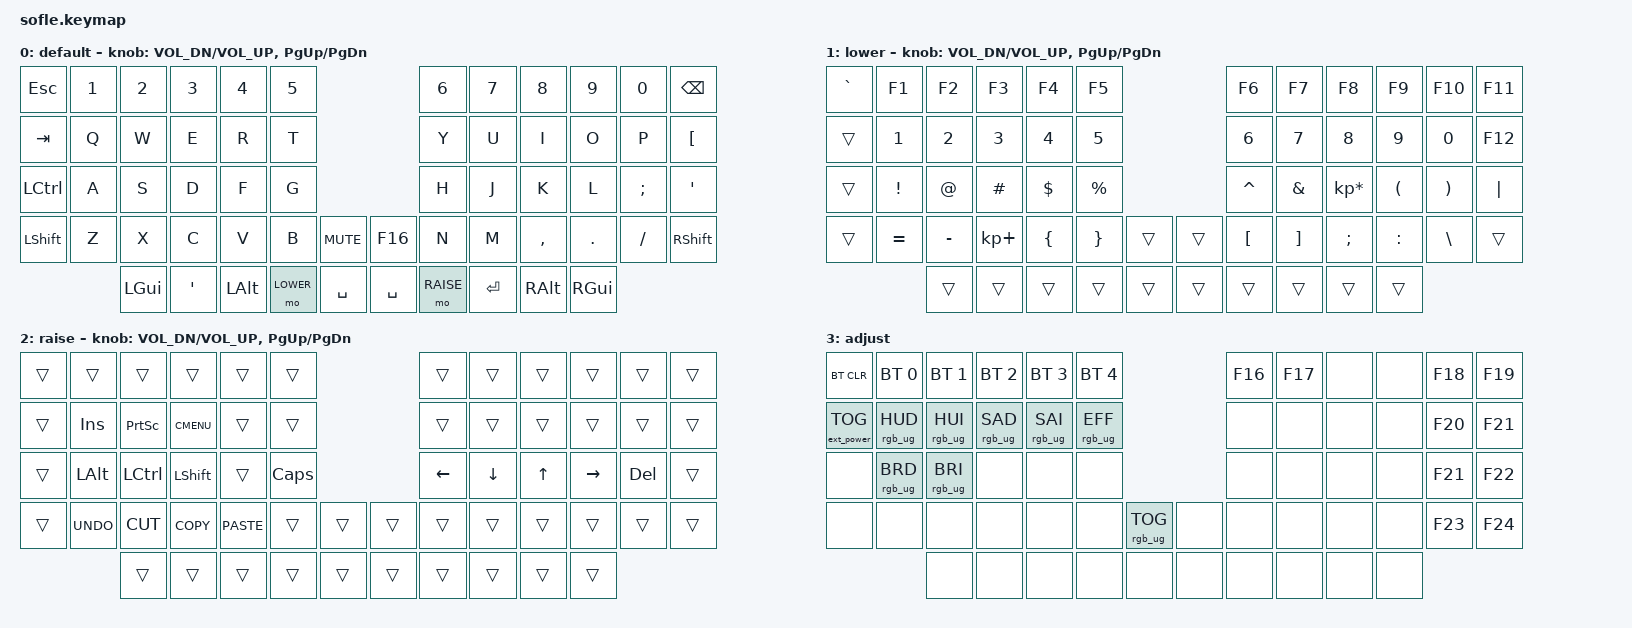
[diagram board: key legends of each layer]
/*
 * Copyright (c) 2020 The ZMK Contributors
 *
 * SPDX-License-Identifier: MIT
 */

#include <behaviors.dtsi>
#include <dt-bindings/zmk/keys.h>
#include <dt-bindings/zmk/bt.h>
#include <dt-bindings/zmk/rgb.h>
#include <dt-bindings/zmk/ext_power.h>

#define BASE 0
#define LOWER 1
#define RAISE 2
#define ADJUST 3

/ {

   // Activate ADJUST layer by pressing raise and lower
    conditional_layers {
        compatible = "zmk,conditional-layers";
        adjust_layer {
            if-layers = <LOWER RAISE>;
            then-layer = <ADJUST>;
        };
    };


    keymap {
        compatible = "zmk,keymap";

        default_layer {
            display-name = "default";
// ----------------------------------------------------------------------------------------------------------------
// |  ESC    |  1  |  2  |  3   |  4   |   5   |                     |  6   |  7    |  8    |  9   |   0   | BKSPC |
// |  TAB    |  Q  |  W  |  E   |  R   |   T   |                     |  Y   |  U    |  I    |  O   |   P   |   [   |
// |  LCTRL  |  A  |  S  |  D   |  F   |   G   |                     |  H   |  J    |  K    |  L   |   ;   |   '   |
// |  SHIFT  |  Z  |  X  |  C   |  V   |   B   |  MUTE  |    |  F16  |  N   |  M    |  ,    |  .   |   /   | SHIFT |
// ----------------------------------------------------------------------------------------------------------------
//                 | GUI |  SQT |  ALT | LOWER |  SPACE |    | ENTER | RAISE| CTRL  | ALT   | GUI  |
//                 --------------------------------------    ---------------------------------------
            bindings = <
&kp ESC   &kp N1 &kp N2   &kp N3   &kp N4    &kp N5                              &kp N6    &kp N7  &kp N8    &kp N9   &kp N0    &kp BSPC
&kp TAB   &kp Q  &kp W    &kp E    &kp R     &kp T                               &kp Y     &kp U   &kp I     &kp O    &kp P     &kp LBKT
&kp LCTRL &kp A  &kp S    &kp D    &kp F     &kp G                               &kp H     &kp J   &kp K     &kp L    &kp SEMI  &kp SQT
&kp LSHFT &kp Z  &kp X    &kp C    &kp V     &kp B        &kp C_MUTE  &kp F16    &kp N     &kp M   &kp COMMA &kp DOT  &kp SLASH &kp RSHFT
                 &kp LGUI &kp SQT  &kp LALT  &mo LOWER    &kp SPACE   &kp SPACE  &mo RAISE &kp RET &kp RALT  &kp RGUI
            >;

            sensor-bindings = <&inc_dec_kp C_VOL_DN C_VOL_UP &inc_dec_kp PG_UP PG_DN>;
        };

        lower_layer {
            display-name = "lower";
// TODO: Some binds are waiting for shifted keycode support.
// ------------------------------------------------------------------------------------------------------------
// |   `   |  F1 |  F2 |  F3  |  F4  |  F5  |                   |  F6  |  F7   |  F8   |  F9  |  F10  |  F11  |
// |       |  1  |  2  |  3   |  4   |  5   |                   |  6   |  7    |  8    |  9   |   0   |  F12  |
// |       |  !  |  @  |  #   |  $   |  %   |                   |  ^   |  &    |  *    |  (   |   )   |   |   |
// |       |  =  |  -  |  +   |  {   |  }   |        |  |       |  [   |  ]    |  ;    |  :   |   \   |       |
// ------------------------------------------------------------------------------------------------------------
//               |     |      |      |      |        |  |       |      |       |       |      |
//               -------------------------------------  ---------------------------------------
            bindings = <
&kp GRAVE &kp F1    &kp F2    &kp F3      &kp F4    &kp F5                    &kp F6    &kp F7   &kp F8          &kp F9    &kp F10   &kp F11
&trans    &kp N1    &kp N2    &kp N3      &kp N4    &kp N5                    &kp N6    &kp N7   &kp N8          &kp N9    &kp N0    &kp F12
&trans    &kp EXCL  &kp AT    &kp HASH    &kp DLLR  &kp PRCNT                 &kp CARET &kp AMPS &kp KP_MULTIPLY &kp LPAR  &kp RPAR  &kp PIPE
&trans    &kp EQUAL &kp MINUS &kp KP_PLUS &kp LBRC  &kp RBRC   &trans &trans  &kp LBKT  &kp RBKT &kp SEMI        &kp COLON &kp BSLH  &trans
                    &trans    &trans      &trans    &trans     &trans &trans  &trans    &trans   &trans          &trans
            >;

            sensor-bindings = <&inc_dec_kp C_VOL_DN C_VOL_UP &inc_dec_kp PG_UP PG_DN>;
        };

        raise_layer {
            display-name = "raise";
// ------------------------------------------------------------------------------------------------------------
// | BTCLR | BT1  | BT2  |  BT3  |  BT4  |  BT5 |                |      |      |       |      |       |       |
// |       | INS  | PSCR | GUI   |       |      |                |      |      |       |      |       |       |
// |       | ALT  | CTRL | SHIFT |       | CAPS |                |  <-  |   v  |   ^   |  ->  |  DEL  |       |
// |       | UNDO | CUT  | COPY  | PASTE |      |      |  |      |      |      |       |      |       |       |
// ------------------------------------------------------------------------------------------------------------
//                |      |       |       |      |      |  |      |      |      |       |      |
//                --------------------------------------  -------------------------------------

            bindings = <
&trans     &trans       &trans       &trans       &trans       &trans                        &trans    &trans    &trans   &trans    &trans  &trans
&trans     &kp INS      &kp PSCRN    &kp K_CMENU  &trans       &trans                        &trans    &trans    &trans   &trans    &trans  &trans
&trans     &kp LALT     &kp LCTRL    &kp LSHFT    &trans       &kp CLCK                      &kp LEFT &kp DOWN   &kp UP   &kp RIGHT &kp DEL &trans
&trans     &kp K_UNDO   &kp K_CUT    &kp K_COPY   &kp K_PASTE  &trans        &trans  &trans  &trans    &trans    &trans   &trans    &trans  &trans
                        &trans       &trans       &trans       &trans        &trans  &trans  &trans    &trans    &trans   &trans
            >;

            sensor-bindings = <&inc_dec_kp C_VOL_DN C_VOL_UP &inc_dec_kp PG_UP PG_DN>;
        };

        adjust_layer {
// ----------------------------------------------------------------------------------------------------------------------------
// | BTCLR  |  BT1    |  BT2    |   BT3   |   BT4   |   BT5   |                  |      |      |       |      |       |       |
// | EXTPWR | RGB_HUD | RGB_HUI | RGB_SAD | RGB_SAI | RGB_EFF |                  |      |      |       |      |       |       |
// |        | RGB_BRD | RGB_BRI |         |         |         |                  |      |      |       |      |       |       |
// |        |         |         |         |         |         | RGB_TOG | |      |      |      |       |      |       |       |
//                    |         |         |         |         |         | |      |      |      |       |      |
            display-name = "adjust";
            bindings = <
&bt BT_CLR        &bt BT_SEL 0    &bt BT_SEL 1    &bt BT_SEL 2    &bt BT_SEL 3    &bt BT_SEL 4                            &kp F16 &kp F17 &none &none &kp F18 &kp F19
&ext_power EP_TOG &rgb_ug RGB_HUD &rgb_ug RGB_HUI &rgb_ug RGB_SAD &rgb_ug RGB_SAI &rgb_ug RGB_EFF                         &none   &none   &none &none &kp F20 &kp F21
&none             &rgb_ug RGB_BRD &rgb_ug RGB_BRI &none           &none           &none                                   &none   &none   &none &none &kp F21 &kp F22
&none             &none           &none           &none           &none           &none            &rgb_ug RGB_TOG &none  &none   &none   &none &none &kp F23 &kp F24
                                  &none           &none           &none           &none            &none           &none  &none   &none   &none &none
            >;
        };

    };
};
